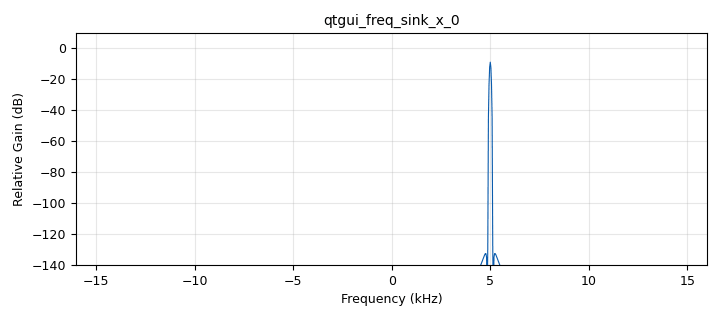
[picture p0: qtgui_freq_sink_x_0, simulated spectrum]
options:
  parameters:
    author: btfz
    generate_options: qt_gui
    id: demo2_change_frequence
    output_language: python
    title: Not titled yet
  states: {}

blocks:
- name: samp_rate
  id: variable
  parameters:
    value: '32000'
  states: {}
- name: analog_sig_source_x_0
  id: analog_sig_source_x
  parameters:
    amp: '1'
    freq: '5000.0'
    offset: '0'
    phase: '0'
    samp_rate: samp_rate
    type: complex
    waveform: analog.GR_COS_WAVE
  states: {}
- name: blocks_message_strobe_1
  id: blocks_message_strobe
  parameters:
    msg: ' pmt.dict_add(pmt.make_dict(), pmt.intern("freq"), pmt.from_float(1000))'
    period: '5000'
  states: {}
- name: blocks_throttle_1
  id: blocks_throttle
  parameters:
    samples_per_second: samp_rate
    type: complex
  states: {}
- name: qtgui_freq_sink_x_0
  id: qtgui_freq_sink_x
  parameters:
    bw: samp_rate
    fc: '0'
    fftsize: '1024'
    type: complex
  states: {}

connections:
- [analog_sig_source_x_0, '0', blocks_throttle_1, '0']
- [blocks_message_strobe_1, strobe, analog_sig_source_x_0, cmd]
- [blocks_throttle_1, '0', qtgui_freq_sink_x_0, '0']

metadata:
  file_format: 1
  grc_version: 3.10.8.0
